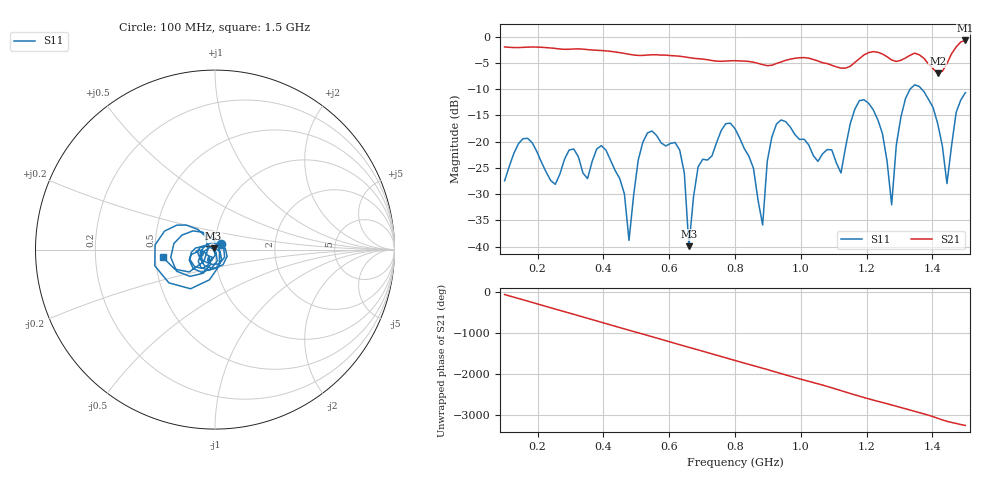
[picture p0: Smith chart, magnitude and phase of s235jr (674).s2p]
! NanoVNA-App
! Date: 2025-09-25 15:09:25
! Start: 100MHz Stop: 1,5GHz Points: 101
! S-Parameter data: F S11 S21 S12 S22
# Hz S RI R 50
!  Frequency  S11_Real  S11_Imag  S21_Real  S21_Imag  S12_Real  S12_Imag  S22_Real  S22_Imag
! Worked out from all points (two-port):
!   101 points, 100 MHz to 1.5 GHz, reference 50 ohm
!   highest |S21| = -0.73 dB at 1.5 GHz (marker M1); lowest = -7.0 dB at 1.416 GHz (marker M2)
!   |S21| within 3 dB of the highest: start of sweep to 630.2 MHz; 1.187 GHz to 1.259 GHz (72.28 MHz wide, 5.91 % of centre) (the widest 2 of 4)
!   lowest |S11| = -39.9 dB at 660 MHz (marker M3), VSWR 1.02, Z = 49.2 + j0.626 ohm
!   |S11| at or under -10 dB: start of sweep to 1.332 GHz; 1.367 GHz to end of sweep
!   S12 and S22 are empty: the file has one direction only
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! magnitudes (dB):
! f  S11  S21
! 100 MHz  -27.5  -2.0
! 156 MHz  -19.4  -2.1
! 338 MHz  -26.0  -2.4
! 408 MHz  -21.6  -2.7
! 478 MHz  -38.8  -3.4
! 520 MHz  -20.1  -3.6
! 576 MHz  -20.3  -3.5
! 632 MHz  -21.6  -3.7
! 660 MHz  -39.9  -4.0
! 688 MHz  -24.8  -4.2
! 800 MHz  -17.5  -4.6
! 884 MHz  -35.9  -5.3
! 926 MHz  -16.7  -5.1
! 1.038 GHz  -22.7  -4.4
! 1.122 GHz  -26.0  -6.0
! 1.192 GHz  -12.0  -3.5
! 1.248 GHz  -18.5  -3.3
! 1.276 GHz  -32.0  -4.5
! 1.332 GHz  -10.0  -3.6
! 1.416 GHz  -16.6  -7.0
! 1.444 GHz  -28.0  -5.1
! 1.5 GHz  -10.7  -0.7
